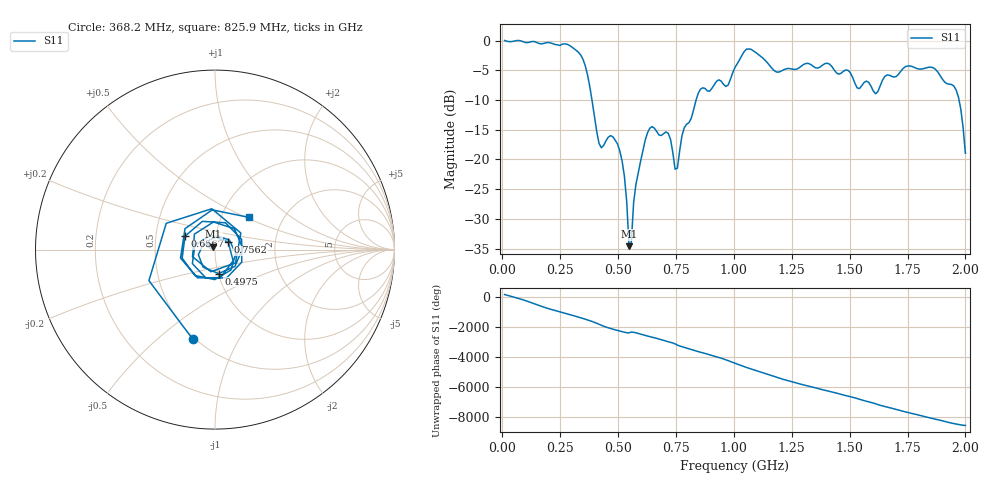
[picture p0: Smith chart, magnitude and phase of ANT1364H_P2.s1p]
!Created with skrf (http://scikit-rf.org).
# Hz S RI R 50.0
!freq ReS11 ImS11
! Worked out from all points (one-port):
!   201 points, 10 MHz to 2 GHz, reference 50 ohm
!   lowest |S11| = -34.6 dB at 547.3 MHz (marker M1), VSWR 1.04, Z = 49.1 + j1.64 ohm
!   |S11| at or under -10 dB: 387.2 MHz to 837.1 MHz (449.8 MHz wide, 73.5 % of centre); 1.973 GHz to end of sweep
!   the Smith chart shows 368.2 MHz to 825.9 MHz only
!   S11 on the Smith chart (normalised r, x): 368.2 MHz: 0.49, -0.66; 497.6 MHz: 1.00, -0.27; 656.8 MHz: 0.71, +0.11; 756.2 MHz: 1.15, +0.10; 825.9 MHz: 1.35, +0.52
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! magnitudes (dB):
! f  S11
! 10 MHz  0.0
! 258.8 MHz  -0.6
! 368.2 MHz  -5.8
! 417.9 MHz  -17.3
! 497.6 MHz  -17.4
! 507.5 MHz  -18.6
! 527.4 MHz  -22.9
! 547.3 MHz  -34.6
! 557.2 MHz  -33.9
! 567.2 MHz  -27.3
! 597 MHz  -20.3
! 626.9 MHz  -15.5
! 656.8 MHz  -14.7
! 716.5 MHz  -15.6
! 756.2 MHz  -21.5
! 776.1 MHz  -16.0
! 825.9 MHz  -11.7
! 855.8 MHz  -8.2
! 975.1 MHz  -7.5
! 1.005 GHz  -4.5
! 1.065 GHz  -1.4
! 1.254 GHz  -4.8
! 1.502 GHz  -5.4
! 1.612 GHz  -9.0
! 1.751 GHz  -4.3
! 1.95 GHz  -7.7
! 1.98 GHz  -11.5
! 2 GHz  -19.0
